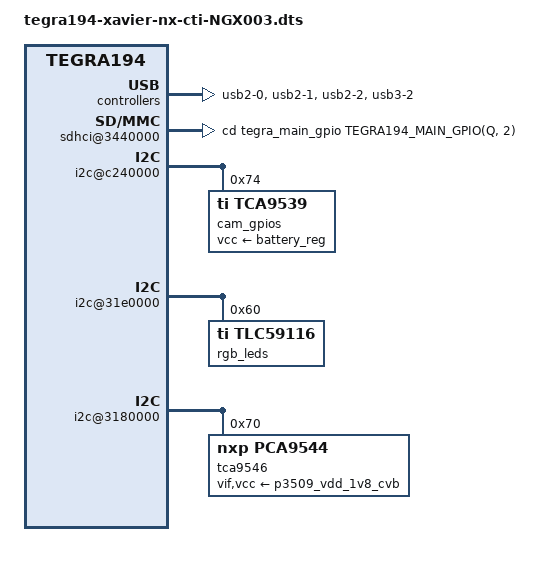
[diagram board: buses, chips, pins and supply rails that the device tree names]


#include "tegra194-xavier-nx-cti-base.dtsi" 

/ {
    nvidia,dtsfilename = "tegra194-xavier-nx-cti-NGX003.dts";
    xusb_padctl@3520000 {
		ports {
			usb2-0 {
				mode = "host";
				status = "okay";
			};
			usb2-1 {
				mode = "host";
				status = "okay";
			};
			usb2-2 {
				mode = "host";
				status = "okay";
			};
			usb3-2 {
				nvidia,usb2-companion = <1>;
				status = "okay";
			};
		};
	};


    sdhci@3440000 {
        cd-gpios = <&tegra_main_gpio TEGRA194_MAIN_GPIO(Q, 2) 0>;
        status = "okay";
    };

   pwm_fan_shared_data: pfsd
   {
        tach_gpio = <&tegra_main_gpio TEGRA194_MAIN_GPIO(N, 1) GPIO_ACTIVE_LOW>;
        pwm_gpio = <&tegra_main_gpio TEGRA194_MAIN_GPIO(H, 1) GPIO_ACTIVE_LOW>;
   };


    /**define tca9539 i2c-0*/
    i2c@c240000 {
        status = "okay";
        
        cam_gpios:tca9539@74{
            status = "okay";
            compatible="ti,tca9539";
            vcc-supply = <&battery_reg>;
            gpio-controller;
            #gpio-cells=<2>;
            reg=<0x74>;
        };
    };	

    /** define tlc59116PWR on i2c-1*/
    i2c@31e0000 {
        status = "okay";
        rgb_leds:tlc59116@60{
            status = "okay";            
            compatible="ti,tlc59116";
            #address-cells = <1>;
            #size-cells = <0>;
            reg=<0x60>;

            red@0 {
                label="red";
                reg = <0x0>;
            };
            green@1 {
                label="green";
                reg = <0x1>;
            };
            blue@2 {
                label="blue";
                reg = <0x2>;
            }; 

        };
    };
	
	/** required for i2c pins on P9 header*/
	i2c@3180000 {
		tca9546@70 {
			compatible = "nxp,pca9544";
			reg = <0x70>;
			#address-cells = <1>;
			#size-cells = <0>;			
			//skip_mux_detect = "yes";
			vif-supply = <&p3509_vdd_1v8_cvb>;
			vcc-supply = <&p3509_vdd_1v8_cvb>;
			vcc_lp = "vcc";
		};
	};

};

#if LINUX_VERSION >= 414
#include <tegra194-linux-4.14.dtsi>
#endif


